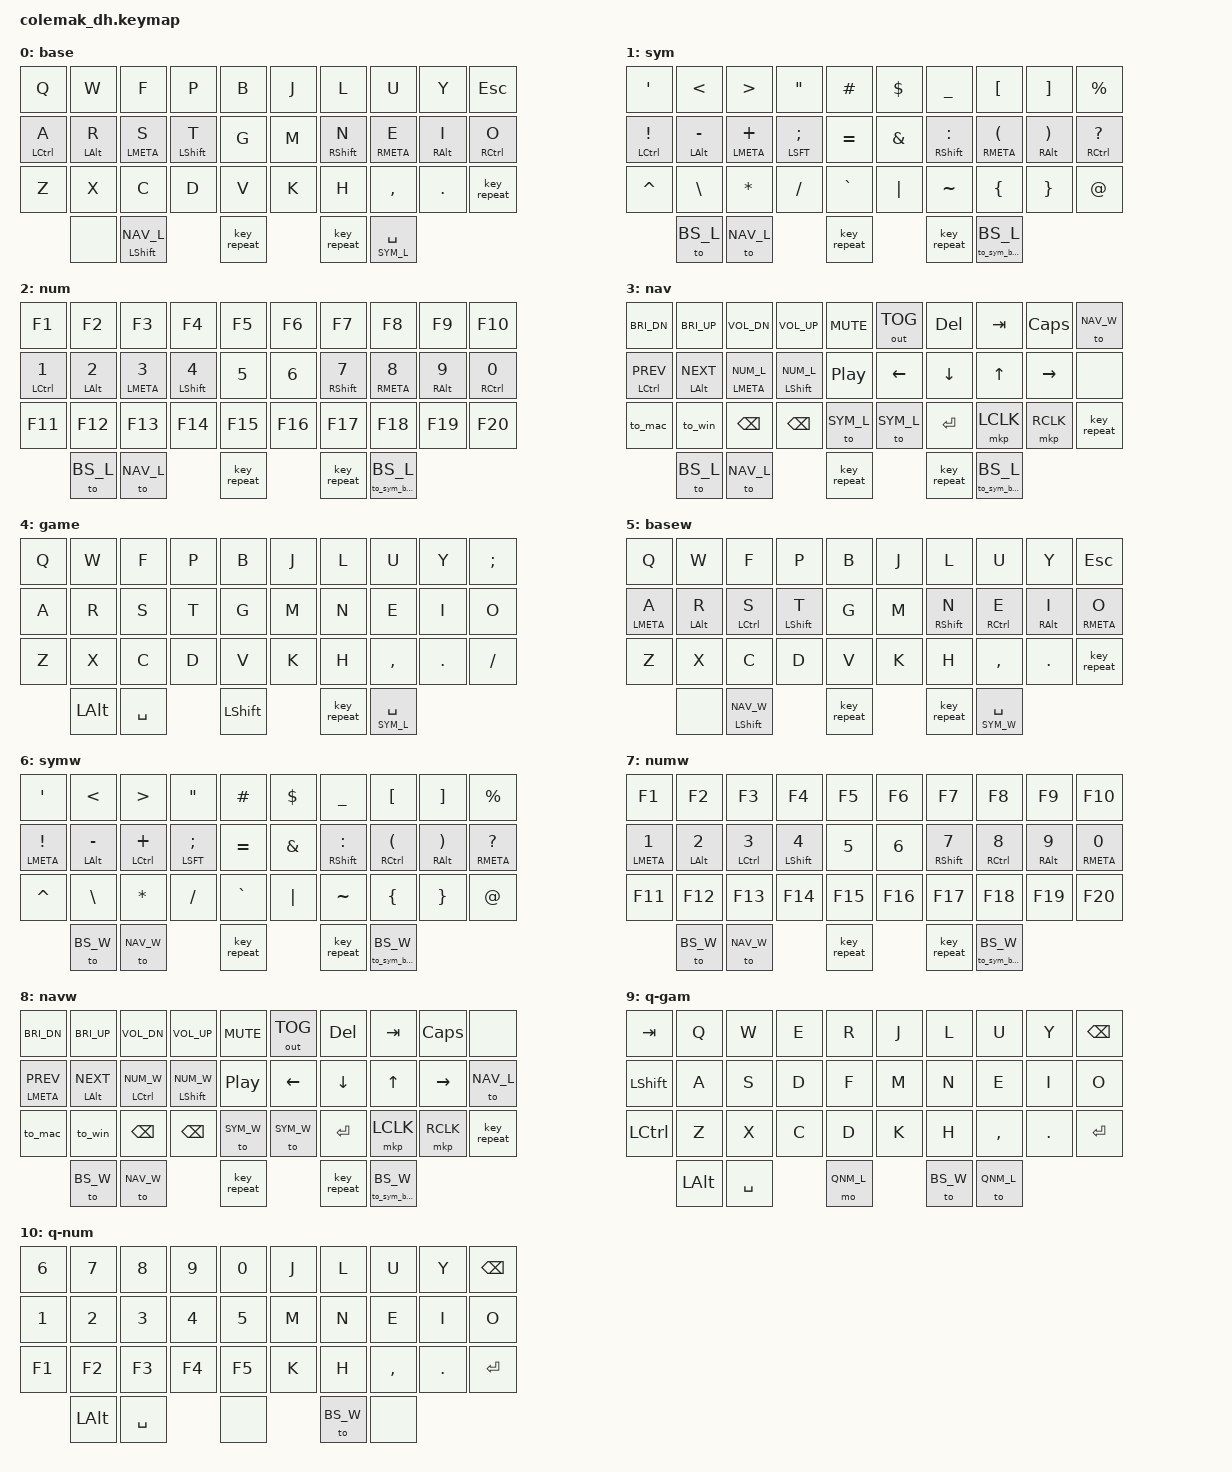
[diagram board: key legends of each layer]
#include <behaviors.dtsi>
#include <dt-bindings/zmk/bt.h>
#include <dt-bindings/zmk/keys.h>
#include <dt-bindings/zmk/mouse.h>
#include <dt-bindings/zmk/outputs.h>
#include <behaviors/mouse_keys.dtsi>
#include <dt-bindings/zmk/ext_power.h>

#define MACRO_PLACEHOLDER 0

// variables
#define HOLD_MS       1000  // time after which hold action is activated
#define TAP_DANCE_MS  1000  // max time between tap-dance taps

// layers
#define BS_L  0
#define SYM_L 1
#define NUM_L 2
#define NAV_L 3
#define GAM_L 4
#define BS_W  5
#define SYM_W 6
#define NUM_W 7
#define NAV_W 8
#define QGM_L 9
#define QNM_L 10

// redefines
#define BRIUP C_BRI_UP
#define BRIDN C_BRI_DN
#define VOLUP C_VOL_UP
#define VOLDN C_VOL_DN
#define VMUTE C_MUTE

// ╭──────┬──────┬──────┬──────┬──────╮  ╭──────┬──────┬──────┬──────┬──────╮
//    00     01     02     03     04        05     06     07     08     09
// ├──────┼──────┼──────┼──────┼──────┤  ├──────┼──────┼──────┼──────┼──────┤
//    10     11     12     13     14        15     16     17     18     19
// ├──────┼──────┼──────┼──────┼──────┤  ├──────┼──────┼──────┼──────┼──────┤
//    20     21     22     23     24        25     26     27     28     29
// ╰──────┴──────┴──────┼──────┼──────┤  ├──────┼──────┼──────┴──────┴──────╯
//                  30     31     32        33     34
//               ╰──────┴──────┴──────╯  ╰──────┴──────╯

/ {
    behaviors {
        hrm: home_row_mod {
            compatible = "zmk,behavior-hold-tap";
            #binding-cells = <2>;
            flavor = "balanced";
            tapping-term-ms = <HOLD_MS>;
            bindings = <&kp>, <&kp>;
        };

        lp: layer_key_press {
            compatible = "zmk,behavior-hold-tap";
            #binding-cells = <2>;
            flavor = "balanced";
            tapping-term-ms = <HOLD_MS>;
            bindings = <&mo>, <&kp>;
        };

        klp: key_layer_press {
            compatible = "zmk,behavior-hold-tap";
            #binding-cells = <2>;
            flavor = "balanced";
            tapping-term-ms = <HOLD_MS>;
            bindings = <&kp>, <&to>;
        };

        hth: hold_tap_hold_preferred {
            compatible = "zmk,behavior-hold-tap";
            #binding-cells = <2>;
            flavor = "hold-preferred";
            tapping-term-ms = <HOLD_MS>;
            bindings = <&kp>, <&kp>;
        };

        tsbm: to_sym_bs_mac {
            compatible = "zmk,behavior-hold-tap";
            #binding-cells = <2>;
            flavor = "balanced";
            tapping-term-ms = <HOLD_MS>;
            bindings = <&to_sym_bs_mac>, <&to>;
        };

        tsbw: to_sym_bs_win {
            compatible = "zmk,behavior-hold-tap";
            #binding-cells = <2>;
            flavor = "balanced";
            tapping-term-ms = <HOLD_MS>;
            bindings = <&to_sym_bs_win>, <&to>;
        };
    };

    macros {
        cp_mac: copy_mac {
            compatible = "zmk,behavior-macro";
            #binding-cells = <0>;
            bindings = <&macro_press &kp LMETA>, <&macro_tap &kp C>, <&macro_release &kp LMETA>;
        };
        cp_win: copy_win {
            compatible = "zmk,behavior-macro";
            #binding-cells = <0>;
            bindings = <&macro_press &kp LCTRL>, <&macro_tap &kp C>, <&macro_release &kp LCTRL>;
        };
        to_sym_bs_mac: to_sym_bs_mac_macro {
            compatible = "zmk,behavior-macro-one-param";
            #binding-cells = <1>;
            bindings = <&macro_tap &to SYM_L>, <&macro_tap &to BS_L>, <&macro_press &mo SYM_L>, <&macro_pause_for_release>, <&macro_release &mo SYM_L>;
        };
        to_sym_bs_win: to_sym_bs_win_macro {
            compatible = "zmk,behavior-macro-one-param";
            #binding-cells = <1>;
            bindings = <&macro_tap &to SYM_W>, <&macro_tap &to BS_W>, <&macro_press &mo SYM_W>, <&macro_pause_for_release>, <&macro_release &mo SYM_W>;
        };
        to_win: to_win_macro {
            compatible = "zmk,behavior-macro";
            #binding-cells = <0>;
            bindings = <&bt BT_SEL 1>, <&to NAV_W>;
        };
        to_mac: to_mac_macro {
            compatible = "zmk,behavior-macro";
            #binding-cells = <0>;
            bindings = <&bt BT_SEL 0>, <&to NAV_L>;
        };
    };

    combos {
        compatible = "zmk,combos";
        combo_gam_to_bs_w {
            timeout-ms = <HOLD_MS>;
            key-positions = <33 34>;
            layers = <GAM_L QGM_L QNM_L>;
            bindings = <&to BS_W>;
        };
        combo_bs_w_to_gam_l {
            timeout-ms = <HOLD_MS>;
            key-positions = <30 31>;
            layers = <BS_W>;
            bindings = <&to GAM_L>;
        };
        combo_bs_w_to_qgm_l {
            timeout-ms = <HOLD_MS>;
            key-positions = <30 34>;
            layers = <BS_W>;
            bindings = <&to QGM_L>;
        };
        combo_clear_bt {
            timeout-ms = <HOLD_MS>;
            key-positions = <20 21 22>;
            layers = <NAV_L NAV_W>;
            bindings = <&bt BT_CLR>;
        };
        copy_mac {
            timeout-ms = <HOLD_MS>;
            key-positions = <12 22>;
            layers = <BS_L>;
            bindings = <&cp_mac>;
        };
        copy_win {
            timeout-ms = <HOLD_MS>;
            key-positions = <12 22>;
            layers = <BS_W>;
            bindings = <&cp_win>;
        };
    };

    keymap {
        // view with :set tabstop=18
        // TODO: move to NUM_L to better finger

        compatible = "zmk,keymap";

        base_layer {
            display-name = "base";
            bindings = <
&kp Q	&kp W	&kp F	&kp P	&kp B		&kp J	&kp L	&kp U	&kp Y	&kp ESC
&hrm LCTRL A	&hrm LALT R	&hrm LMETA S	&hrm LSHFT T	&kp G		&kp M	&hrm RSHFT N	&hrm RMETA E	&hrm RALT I	&hrm RCTRL O
&kp Z	&kp X	&kp C	&kp D	&kp V		&kp K	&kp H	&kp COMMA	&kp DOT	&key_repeat
		&none 	&klp LSHFT NAV_L	&key_repeat		&key_repeat	&lp SYM_L SPACE
            >;
        };

        symbol_layer {
            display-name = "sym";
            bindings = <
&kp SQT	&kp LT 	&kp GT	&kp DQT	&kp POUND		&kp DLLR	&kp UNDER	&kp LBKT	&kp RBKT	&kp PRCNT
&hrm LCTRL EXCL	&hrm LALT MINUS	&hrm LMETA PLUS	&hrm LSFT SEMI	&kp EQUAL		&kp AMPS	&hrm RSHFT COLON	&hrm RMETA LPAR	&hrm RALT RPAR	&hrm RCTRL QMARK
&kp CARET	&kp BSLH	&kp STAR	&kp FSLH	&kp GRAVE		&kp PIPE	&kp TILDE	&kp LBRC	&kp RBRC	&kp AT
		&to BS_L	&to NAV_L	&key_repeat		&key_repeat	&tsbm 0 BS_L
            >;
        };

        num_layer {
            display-name = "num";
            bindings = <
&kp F1	&kp F2	&kp F3	&kp F4	&kp F5		&kp F6	&kp F7	&kp F8	&kp F9	&kp F10
&hrm LCTRL N1	&hrm LALT N2	&hrm LMETA N3	&hrm LSHFT N4	&kp N5		&kp N6	&hrm RSHFT N7	&hrm RMETA N8	&hrm RALT N9	&hrm RCTRL N0
&kp F11	&kp F12	&kp F13	&kp F14	&kp F15		&kp F16	&kp F17	&kp F18	&kp F19	&kp F20
		&to BS_L	&to NAV_L	&key_repeat		&key_repeat	&tsbm 0 BS_L
            >;
        };

        nav_layer {
            display-name = "nav";
            bindings = <
&kp BRIDN	&kp BRIUP	&kp VOLDN	&kp VOLUP	&kp VMUTE		&out OUT_TOG	&kp DEL	&kp TAB	&kp CAPS	&to NAV_W
&hth LCTRL C_PREV	&hth LALT C_NEXT	&klp LMETA NUM_L	&klp LSHFT NUM_L	&kp C_PP		&kp LEFT	&kp DOWN	&kp UP	&kp RIGHT	&none
&to_mac	&to_win	&kp BSPC	&kp BSPC	&to SYM_L		&to SYM_L	&kp RET	&mkp LCLK	&mkp RCLK	&key_repeat
		&to BS_L	&to NAV_L	&key_repeat 		&key_repeat	&tsbm 0 BS_L
            >;
        };

        gaming_layer {
            display-name = "game";
            bindings = <
&kp Q	&kp W	&kp F	&kp P	&kp B		&kp J	&kp L	&kp U	&kp Y	&kp SEMI
&kp A	&kp R	&kp S	&kp T	&kp G		&kp M	&kp N	&kp E	&kp I	&kp O
&kp Z	&kp X	&kp C	&kp D	&kp V		&kp K	&kp H	&kp COMMA	&kp DOT	&kp FSLH
		&kp LALT	&kp SPACE	&kp LSHFT 		&key_repeat	&hrm SYM_L SPACE
            >;
        };

        base_win_layer {
            display-name = "basew";
            bindings = <
&kp Q	&kp W	&kp F	&kp P	&kp B		&kp J	&kp L	&kp U	&kp Y	&kp ESC
&hrm LMETA A	&hrm LALT R	&hrm LCTRL S	&hrm LSHFT T	&kp G		&kp M	&hrm RSHFT N	&hrm RCTRL E	&hrm RALT I	&hrm RMETA O
&kp Z	&kp X	&kp C	&kp D	&kp V		&kp K	&kp H	&kp COMMA	&kp DOT	&key_repeat
		&none 	&klp LSHFT NAV_W	&key_repeat		&key_repeat	&lp SYM_W SPACE
            >;
        };

        symbol_win_layer {
            display-name = "symw";
            bindings = <
&kp SQT	&kp LT 	&kp GT	&kp DQT	&kp POUND		&kp DLLR	&kp UNDER	&kp LBKT	&kp RBKT	&kp PRCNT
&hrm LMETA EXCL	&hrm LALT MINUS	&hrm LCTRL PLUS	&hrm LSFT SEMI	&kp EQUAL		&kp AMPS	&hrm RSHFT COLON	&hrm RCTRL LPAR	&hrm RALT RPAR	&hrm RMETA QMARK
&kp CARET	&kp BSLH	&kp STAR	&kp FSLH	&kp GRAVE		&kp PIPE	&kp TILDE	&kp LBRC	&kp RBRC	&kp AT
		&to BS_W	&to NAV_W	&key_repeat		&key_repeat	&tsbw 0 BS_W
            >;
        };

        num_win_layer {
            display-name = "numw";
            bindings = <
&kp F1	&kp F2	&kp F3	&kp F4	&kp F5		&kp F6	&kp F7	&kp F8	&kp F9	&kp F10
&hrm LMETA N1	&hrm LALT N2	&hrm LCTRL N3	&hrm LSHFT N4	&kp N5		&kp N6	&hrm RSHFT N7	&hrm RCTRL N8	&hrm RALT N9	&hrm RMETA N0
&kp F11	&kp F12	&kp F13	&kp F14	&kp F15		&kp F16	&kp F17	&kp F18	&kp F19	&kp F20
		&to BS_W	&to NAV_W	&key_repeat		&key_repeat	&tsbw 0 BS_W
            >;
        };

        nav_win_layer {
            display-name = "navw";
            bindings = <
&kp BRIDN	&kp BRIUP	&kp VOLDN	&kp VOLUP	&kp VMUTE		&out OUT_TOG	&kp DEL	&kp TAB	&kp CAPS	&none
&hth LMETA C_PREV	&hth LALT C_NEXT	&klp LCTRL NUM_W	&klp LSHFT NUM_W	&kp C_PP		&kp LEFT	&kp DOWN	&kp UP	&kp RIGHT	&to NAV_L
&to_mac	&to_win	&kp BSPC	&kp BSPC	&to SYM_W		&to SYM_W	&kp RET	&mkp LCLK	&mkp RCLK	&key_repeat
		&to BS_W	&to NAV_W	&key_repeat 		&key_repeat	&tsbw 0 BS_W
            >;
        };

        // for games that have wasd and no keybinds
        qwerty_gaming_layer {
            display-name = "q-gam";
            bindings = <
&kp TAB	&kp Q	&kp W	&kp E	&kp R		&kp J	&kp L	&kp U	&kp Y	&kp BSPC
&kp LSHFT	&kp A	&kp S	&kp D	&kp F		&kp M	&kp N	&kp E	&kp I	&kp O
&kp LCTRL	&kp Z	&kp X	&kp C	&kp D		&kp K	&kp H	&kp COMMA	&kp DOT	&kp RET
		&kp LALT	&kp SPACE	&mo QNM_L 		&to BS_W	&to QNM_L
            >;
        };

        qwerty_num_layer {
            display-name = "q-num";
            bindings = <
&kp N6	&kp N7	&kp N8	&kp N9	&kp N0		&kp J	&kp L	&kp U	&kp Y	&kp BSPC
&kp N1	&kp N2	&kp N3	&kp N4	&kp N5		&kp M	&kp N	&kp E	&kp I	&kp O
&kp F1	&kp F2	&kp F3	&kp F4	&kp F5		&kp K	&kp H	&kp COMMA	&kp DOT	&kp RET
		&kp LALT	&kp SPACE	&none 		&to BS_W	&none
            >;
        };
   };
};
